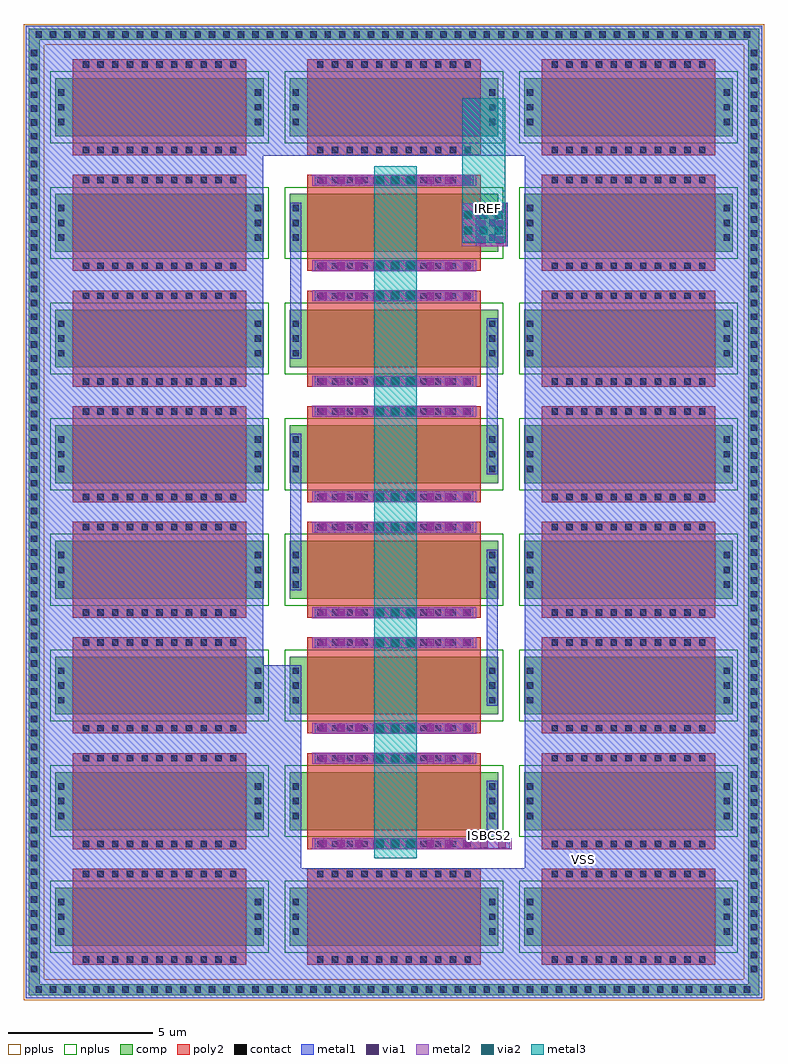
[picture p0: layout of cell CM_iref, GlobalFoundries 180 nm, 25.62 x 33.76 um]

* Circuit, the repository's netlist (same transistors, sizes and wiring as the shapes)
** sch_path: /home/lci-ufsc/Desktop/Bracolin/TIA_Filter/CurrentMirrors/CM_iref.sch
.subckt CM_iref ISBCS2 IREF VSS
*.PININFO ISBCS2:B IREF:B VSS:B
M6 ISBCS2 ISBCS2 VSS VSS nfet_03v3 L=6u W=2u nf=1 m=1
M5 IREF ISBCS2 net3 VSS nfet_03v3 L=6u W=2u nf=1 m=1
M1 net3 ISBCS2 net2 VSS nfet_03v3 L=6u W=2u nf=1 m=1
M2 net2 ISBCS2 net1 VSS nfet_03v3 L=6u W=2u nf=1 m=1
M3 net1 ISBCS2 net4 VSS nfet_03v3 L=6u W=2u nf=1 m=1
M4 net4 ISBCS2 VSS VSS nfet_03v3 L=6u W=2u nf=1 m=1
M7[1] VSS VSS VSS VSS nfet_03v3 L=6u W=2u nf=1 m=1
M7[2] VSS VSS VSS VSS nfet_03v3 L=6u W=2u nf=1 m=1
M7[3] VSS VSS VSS VSS nfet_03v3 L=6u W=2u nf=1 m=1
M7[4] VSS VSS VSS VSS nfet_03v3 L=6u W=2u nf=1 m=1
M7[5] VSS VSS VSS VSS nfet_03v3 L=6u W=2u nf=1 m=1
M7[6] VSS VSS VSS VSS nfet_03v3 L=6u W=2u nf=1 m=1
M7[7] VSS VSS VSS VSS nfet_03v3 L=6u W=2u nf=1 m=1
M7[8] VSS VSS VSS VSS nfet_03v3 L=6u W=2u nf=1 m=1
M7[9] VSS VSS VSS VSS nfet_03v3 L=6u W=2u nf=1 m=1
M7[10] VSS VSS VSS VSS nfet_03v3 L=6u W=2u nf=1 m=1
M7[11] VSS VSS VSS VSS nfet_03v3 L=6u W=2u nf=1 m=1
M7[12] VSS VSS VSS VSS nfet_03v3 L=6u W=2u nf=1 m=1
M7[13] VSS VSS VSS VSS nfet_03v3 L=6u W=2u nf=1 m=1
M7[14] VSS VSS VSS VSS nfet_03v3 L=6u W=2u nf=1 m=1
M7[15] VSS VSS VSS VSS nfet_03v3 L=6u W=2u nf=1 m=1
M7[16] VSS VSS VSS VSS nfet_03v3 L=6u W=2u nf=1 m=1
M7[17] VSS VSS VSS VSS nfet_03v3 L=6u W=2u nf=1 m=1
M7[18] VSS VSS VSS VSS nfet_03v3 L=6u W=2u nf=1 m=1
.ends
.end

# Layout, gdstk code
import gdstk
lib = gdstk.Library(unit=1e-6, precision=1e-09)
def R(c, l, rs):  # rectangles x0, y0, x1, y1
    for r in rs: c.add(gdstk.rectangle(r[:2], r[2:], *l))
def A(c, l, x, y, w, h, nx, ny, dx, dy):  # array of equal rectangles
    R(c, l, [(x+i*dx, y+j*dy, x+i*dx+w, y+j*dy+h) for i in range(nx) for j in range(ny)])
comp = (22, 0)
poly2 = (30, 0)
pplus = (31, 0)
nplus = (32, 0)
contact = (33, 0)
metal1 = (34, 0)
via1 = (35, 0)
metal2 = (36, 0)
via2 = (38, 0)
metal3 = (42, 0)

nfet = lib.new_cell('nfet')
R(nfet, comp, [(-0.42,0,0,2), (0,0,6.38,2), (6.38,0,6.8,2)])
R(nfet, poly2, [(0.19,-0.66,6.19,-0.3), (0.19,-0.3,6.19,2.3), (0.19,2.3,6.19,2.66)])
R(nfet, nplus, [(-0.59,-0.24,6.97,2.24)])
A(nfet, contact, 0.53, -0.59, 0.22, 0.22, 11, 2, 0.51, 2.96)
A(nfet, contact, -0.32, 0.38, 0.22, 0.22, 1, 3, 0, 0.51)
A(nfet, contact, 6.48, 0.38, 0.22, 0.22, 1, 3, 0, 0.51)
R(nfet, metal1, [(0.45,-0.67,5.93,-0.29), (-0.4,0.3,-0.02,1.7), (6.4,0.3,6.78,1.7), (0.45,2.29,5.93,2.67)])

cm_iref = lib.new_cell('CM_iref')
R(cm_iref, comp, [(-10.14,-5.845,-9.76,27.395), (-10.015,-5.845,14.995,-5.465), (14.76,-5.845,15.14,27.405), (-10.14,27.195,15.14,27.575)])
R(cm_iref, pplus, [(-10.31,-6.015,-9.59,27.715), (-10.31,-6.015,15.31,-5.295), (14.59,-6.015,15.31,27.69), (-10.31,27.025,15.31,27.745)])
A(cm_iref, contact, -9.9, -5.765, 0.22, 0.22, 50, 2, 0.5, 33.04)
A(cm_iref, contact, -10.06, -5.05, 0.22, 0.22, 1, 67, 0, 0.48)
A(cm_iref, contact, 14.84, -5.05, 0.22, 0.22, 1, 67, 0, 0.48)
R(cm_iref, contact, [(-10.06,-5.05,-9.84,-4.83), (14.84,-5.05,15.06,-4.83)])
R(cm_iref, metal1, [(-10.235,-5.955,-2.02,27.68), (-2.935,-5.955,15.245,-1.465), (7.02,-5.955,15.235,27.68), (-2.4,-2.475,-0.71,5.565), (-0.24,-0.79,1.525,-0.435), (1.615,-0.79,3.38,-0.435), (3.475,-0.79,6.51,-0.435), (5.71,-0.59,6.09,0.495), (-0.24,2.165,1.525,2.52), (1.615,2.165,3.38,2.52), (3.475,2.165,5.24,2.52), (-0.24,3.21,1.525,3.565), (1.615,3.21,3.38,3.565), (3.475,3.21,5.24,3.565), (5.71,5.31,6.09,8.895), (-0.24,6.165,1.525,6.52), (1.615,6.165,3.38,6.52), (1.615,6.165,3.38,6.52), (3.475,6.165,5.24,6.52), (-0.24,7.205,1.525,7.56), (1.615,7.205,3.38,7.56), (1.615,7.205,3.38,7.56), (3.475,7.205,5.24,7.56), (-1.09,9.13,-0.71,12.715), (-0.24,10.16,1.525,10.515), (1.615,10.16,3.38,10.515), (1.615,10.16,3.38,10.515), (3.475,10.16,5.24,10.515), (-0.24,11.205,1.525,11.56), (1.615,11.205,3.38,11.56), (1.615,11.205,3.38,11.56), (3.475,11.205,5.24,11.56), (5.71,13.21,6.09,16.795), (-0.24,14.16,1.525,14.515), (1.615,14.16,3.38,14.515), (1.615,14.16,3.38,14.515), (3.475,14.16,5.24,14.515), (-0.24,15.205,1.525,15.56), (1.615,15.205,3.38,15.56), (3.475,15.205,5.24,15.56), (-1.09,17.03,-0.71,20.615), (-0.24,18.16,1.525,18.515), (1.615,18.16,3.38,18.515), (3.475,18.16,5.24,18.515), (-0.24,19.2,1.525,19.555), (1.615,19.2,3.38,19.555), (3.475,19.2,5.24,19.555), (5.325,20.055,6.44,21.565), (-0.24,22.155,1.525,22.51), (1.615,22.155,3.38,22.51), (3.475,22.155,5.24,22.51), (-2.935,23.195,15.245,27.685)])
A(cm_iref, via1, 5.41, 20.125, 0.26, 0.26, 1, 3, 0, 0.55)
A(cm_iref, via1, 6.03, 20.125, 0.26, 0.26, 1, 3, 0, 0.55)
R(cm_iref, via1, [(-0.085,-0.74,0.175,-0.48), (-0.085,-0.74,0.175,-0.48), (-0.085,-0.74,0.175,-0.48), (-0.085,-0.74,0.175,-0.48), (-0.085,-0.74,0.175,-0.48), (-0.085,-0.74,0.175,-0.48), (-0.085,-0.74,0.175,-0.48), (-0.085,-0.74,0.175,-0.48), (0.535,-0.74,0.795,-0.48), (0.535,-0.74,0.795,-0.48), (0.535,-0.74,0.795,-0.48), (0.535,-0.74,0.795,-0.48), (0.535,-0.74,0.795,-0.48), (0.535,-0.74,0.795,-0.48), (0.535,-0.74,0.795,-0.48), (0.535,-0.74,0.795,-0.48), (1.155,-0.74,1.415,-0.48), (1.155,-0.74,1.415,-0.48), (1.155,-0.74,1.415,-0.48), (1.155,-0.74,1.415,-0.48), (1.155,-0.74,1.415,-0.48), (1.155,-0.74,1.415,-0.48), (1.155,-0.74,1.415,-0.48), (1.155,-0.74,1.415,-0.48), (1.77,-0.74,2.03,-0.48), (1.77,-0.74,2.03,-0.48), (1.77,-0.74,2.03,-0.48), (1.77,-0.74,2.03,-0.48), (1.77,-0.74,2.03,-0.48), (1.77,-0.74,2.03,-0.48), (1.77,-0.74,2.03,-0.48), (1.77,-0.74,2.03,-0.48), (2.39,-0.74,2.65,-0.48), (2.39,-0.74,2.65,-0.48), (2.39,-0.74,2.65,-0.48), (2.39,-0.74,2.65,-0.48), (2.39,-0.74,2.65,-0.48), (2.39,-0.74,2.65,-0.48), (2.39,-0.74,2.65,-0.48), (2.39,-0.74,2.65,-0.48), (3.01,-0.74,3.27,-0.48), (3.01,-0.74,3.27,-0.48), (3.01,-0.74,3.27,-0.48), (3.01,-0.74,3.27,-0.48), (3.01,-0.74,3.27,-0.48), (3.01,-0.74,3.27,-0.48), (3.01,-0.74,3.27,-0.48), (3.01,-0.74,3.27,-0.48), (3.63,-0.74,3.89,-0.48), (3.63,-0.74,3.89,-0.48), (3.63,-0.74,3.89,-0.48), (3.63,-0.74,3.89,-0.48), (3.63,-0.74,3.89,-0.48), (3.63,-0.74,3.89,-0.48), (3.63,-0.74,3.89,-0.48), (3.63,-0.74,3.89,-0.48), (4.25,-0.74,4.51,-0.48), (4.25,-0.74,4.51,-0.48), (4.25,-0.74,4.51,-0.48), (4.25,-0.74,4.51,-0.48), (4.25,-0.74,4.51,-0.48), (4.25,-0.74,4.51,-0.48), (4.25,-0.74,4.51,-0.48), (4.25,-0.74,4.51,-0.48), (4.87,-0.74,5.13,-0.48), (4.87,-0.74,5.13,-0.48), (4.87,-0.74,5.13,-0.48), (4.87,-0.74,5.13,-0.48), (4.87,-0.74,5.13,-0.48), (4.87,-0.74,5.13,-0.48), (4.87,-0.74,5.13,-0.48), (4.87,-0.74,5.13,-0.48), (4.87,-0.74,5.13,-0.48), (4.87,-0.74,5.13,-0.48), (4.87,-0.74,5.13,-0.48), (4.87,-0.74,5.13,-0.48), (4.87,-0.74,5.13,-0.48), (4.87,-0.74,5.13,-0.48), (4.87,-0.74,5.13,-0.48), (5.49,-0.74,5.75,-0.48), (5.49,-0.74,5.75,-0.48), (5.49,-0.74,5.75,-0.48), (5.49,-0.74,5.75,-0.48), (5.49,-0.74,5.75,-0.48), (5.49,-0.74,5.75,-0.48), (5.49,-0.74,5.75,-0.48), (5.49,-0.74,5.75,-0.48), (5.49,-0.74,5.75,-0.48), (5.49,-0.74,5.75,-0.48), (5.49,-0.74,5.75,-0.48), (5.49,-0.74,5.75,-0.48), (5.49,-0.74,5.75,-0.48), (5.49,-0.74,5.75,-0.48), (5.49,-0.74,5.75,-0.48), (5.49,-0.74,5.75,-0.48), (5.49,-0.74,5.75,-0.48), (5.49,-0.74,5.75,-0.48), (5.49,-0.74,5.75,-0.48), (5.49,-0.74,5.75,-0.48), (5.49,-0.74,5.75,-0.48), (5.49,-0.74,5.75,-0.48), (6.11,-0.74,6.37,-0.48), (6.11,-0.74,6.37,-0.48), (6.11,-0.74,6.37,-0.48), (6.11,-0.74,6.37,-0.48), (6.11,-0.74,6.37,-0.48), (6.11,-0.74,6.37,-0.48), (6.11,-0.74,6.37,-0.48), (6.11,-0.74,6.37,-0.48), (-0.085,2.215,0.175,2.475), (-0.085,2.215,0.175,2.475), (-0.085,2.215,0.175,2.475), (-0.085,2.215,0.175,2.475), (-0.085,2.215,0.175,2.475), (-0.085,2.215,0.175,2.475), (-0.085,2.215,0.175,2.475), (-0.085,2.215,0.175,2.475), (0.535,2.215,0.795,2.475), (0.535,2.215,0.795,2.475), (0.535,2.215,0.795,2.475), (0.535,2.215,0.795,2.475), (0.535,2.215,0.795,2.475), (0.535,2.215,0.795,2.475), (0.535,2.215,0.795,2.475), (0.535,2.215,0.795,2.475), (1.155,2.215,1.415,2.475), (1.155,2.215,1.415,2.475), (1.155,2.215,1.415,2.475), (1.155,2.215,1.415,2.475), (1.155,2.215,1.415,2.475), (1.155,2.215,1.415,2.475), (1.155,2.215,1.415,2.475), (1.155,2.215,1.415,2.475), (1.77,2.215,2.03,2.475), (1.77,2.215,2.03,2.475), (1.77,2.215,2.03,2.475), (1.77,2.215,2.03,2.475), (1.77,2.215,2.03,2.475), (1.77,2.215,2.03,2.475), (1.77,2.215,2.03,2.475), (1.77,2.215,2.03,2.475), (2.39,2.215,2.65,2.475), (2.39,2.215,2.65,2.475), (2.39,2.215,2.65,2.475), (2.39,2.215,2.65,2.475), (2.39,2.215,2.65,2.475), (2.39,2.215,2.65,2.475), (2.39,2.215,2.65,2.475), (2.39,2.215,2.65,2.475), (3.01,2.215,3.27,2.475), (3.01,2.215,3.27,2.475), (3.01,2.215,3.27,2.475), (3.01,2.215,3.27,2.475), (3.01,2.215,3.27,2.475), (3.01,2.215,3.27,2.475), (3.01,2.215,3.27,2.475), (3.01,2.215,3.27,2.475), (3.63,2.215,3.89,2.475), (3.63,2.215,3.89,2.475), (3.63,2.215,3.89,2.475), (3.63,2.215,3.89,2.475), (3.63,2.215,3.89,2.475), (3.63,2.215,3.89,2.475), (3.63,2.215,3.89,2.475), (3.63,2.215,3.89,2.475), (4.25,2.215,4.51,2.475), (4.25,2.215,4.51,2.475), (4.25,2.215,4.51,2.475), (4.25,2.215,4.51,2.475), (4.25,2.215,4.51,2.475), (4.25,2.215,4.51,2.475), (4.25,2.215,4.51,2.475), (4.25,2.215,4.51,2.475), (4.87,2.215,5.13,2.475), (4.87,2.215,5.13,2.475), (4.87,2.215,5.13,2.475), (4.87,2.215,5.13,2.475), (4.87,2.215,5.13,2.475), (4.87,2.215,5.13,2.475), (4.87,2.215,5.13,2.475), (4.87,2.215,5.13,2.475), (-0.085,3.26,0.175,3.52), (-0.085,3.26,0.175,3.52), (-0.085,3.26,0.175,3.52), (-0.085,3.26,0.175,3.52), (-0.085,3.26,0.175,3.52), (-0.085,3.26,0.175,3.52), (-0.085,3.26,0.175,3.52), (-0.085,3.26,0.175,3.52), (0.535,3.26,0.795,3.52), (0.535,3.26,0.795,3.52), (0.535,3.26,0.795,3.52), (0.535,3.26,0.795,3.52), (0.535,3.26,0.795,3.52), (0.535,3.26,0.795,3.52), (0.535,3.26,0.795,3.52), (0.535,3.26,0.795,3.52), (1.155,3.26,1.415,3.52), (1.155,3.26,1.415,3.52), (1.155,3.26,1.415,3.52), (1.155,3.26,1.415,3.52), (1.155,3.26,1.415,3.52), (1.155,3.26,1.415,3.52), (1.155,3.26,1.415,3.52), (1.155,3.26,1.415,3.52), (1.77,3.26,2.03,3.52), (1.77,3.26,2.03,3.52), (1.77,3.26,2.03,3.52), (1.77,3.26,2.03,3.52), (1.77,3.26,2.03,3.52), (1.77,3.26,2.03,3.52), (1.77,3.26,2.03,3.52), (1.77,3.26,2.03,3.52), (2.39,3.26,2.65,3.52), (2.39,3.26,2.65,3.52), (2.39,3.26,2.65,3.52), (2.39,3.26,2.65,3.52), (2.39,3.26,2.65,3.52), (2.39,3.26,2.65,3.52), (2.39,3.26,2.65,3.52), (2.39,3.26,2.65,3.52), (3.01,3.26,3.27,3.52), (3.01,3.26,3.27,3.52), (3.01,3.26,3.27,3.52), (3.01,3.26,3.27,3.52), (3.01,3.26,3.27,3.52), (3.01,3.26,3.27,3.52), (3.01,3.26,3.27,3.52), (3.01,3.26,3.27,3.52), (3.63,3.26,3.89,3.52), (3.63,3.26,3.89,3.52), (3.63,3.26,3.89,3.52), (3.63,3.26,3.89,3.52), (3.63,3.26,3.89,3.52), (3.63,3.26,3.89,3.52), (3.63,3.26,3.89,3.52), (3.63,3.26,3.89,3.52), (4.25,3.26,4.51,3.52), (4.25,3.26,4.51,3.52), (4.25,3.26,4.51,3.52), (4.25,3.26,4.51,3.52), (4.25,3.26,4.51,3.52), (4.25,3.26,4.51,3.52), (4.25,3.26,4.51,3.52), (4.25,3.26,4.51,3.52), (4.87,3.26,5.13,3.52), (4.87,3.26,5.13,3.52), (4.87,3.26,5.13,3.52), (4.87,3.26,5.13,3.52), (4.87,3.26,5.13,3.52), (4.87,3.26,5.13,3.52), (4.87,3.26,5.13,3.52), (4.87,3.26,5.13,3.52), (-0.085,6.215,0.175,6.475), (-0.085,6.215,0.175,6.475), (-0.085,6.215,0.175,6.475), (-0.085,6.215,0.175,6.475), (-0.085,6.215,0.175,6.475), (-0.085,6.215,0.175,6.475), (-0.085,6.215,0.175,6.475), (-0.085,6.215,0.175,6.475), (0.535,6.215,0.795,6.475), (0.535,6.215,0.795,6.475), (0.535,6.215,0.795,6.475), (0.535,6.215,0.795,6.475), (0.535,6.215,0.795,6.475), (0.535,6.215,0.795,6.475), (0.535,6.215,0.795,6.475), (0.535,6.215,0.795,6.475), (1.155,6.215,1.415,6.475), (1.155,6.215,1.415,6.475), (1.155,6.215,1.415,6.475), (1.155,6.215,1.415,6.475), (1.155,6.215,1.415,6.475), (1.155,6.215,1.415,6.475), (1.155,6.215,1.415,6.475), (1.155,6.215,1.415,6.475), (1.77,6.215,2.03,6.475), (1.77,6.215,2.03,6.475), (1.77,6.215,2.03,6.475), (1.77,6.215,2.03,6.475), (1.77,6.215,2.03,6.475), (1.77,6.215,2.03,6.475), (1.77,6.215,2.03,6.475), (1.77,6.215,2.03,6.475), (2.39,6.215,2.65,6.475), (2.39,6.215,2.65,6.475), (2.39,6.215,2.65,6.475), (2.39,6.215,2.65,6.475), (2.39,6.215,2.65,6.475), (2.39,6.215,2.65,6.475), (2.39,6.215,2.65,6.475), (2.39,6.215,2.65,6.475), (3.01,6.215,3.27,6.475), (3.01,6.215,3.27,6.475), (3.01,6.215,3.27,6.475), (3.01,6.215,3.27,6.475), (3.01,6.215,3.27,6.475), (3.01,6.215,3.27,6.475), (3.01,6.215,3.27,6.475), (3.01,6.215,3.27,6.475), (3.63,6.215,3.89,6.475), (3.63,6.215,3.89,6.475), (3.63,6.215,3.89,6.475), (3.63,6.215,3.89,6.475), (3.63,6.215,3.89,6.475), (3.63,6.215,3.89,6.475), (3.63,6.215,3.89,6.475), (3.63,6.215,3.89,6.475), (4.25,6.215,4.51,6.475), (4.25,6.215,4.51,6.475), (4.25,6.215,4.51,6.475), (4.25,6.215,4.51,6.475), (4.25,6.215,4.51,6.475), (4.25,6.215,4.51,6.475), (4.25,6.215,4.51,6.475), (4.25,6.215,4.51,6.475), (4.87,6.215,5.13,6.475), (4.87,6.215,5.13,6.475), (4.87,6.215,5.13,6.475), (4.87,6.215,5.13,6.475), (4.87,6.215,5.13,6.475), (4.87,6.215,5.13,6.475), (4.87,6.215,5.13,6.475), (4.87,6.215,5.13,6.475), (-0.085,7.255,0.175,7.515), (-0.085,7.255,0.175,7.515), (-0.085,7.255,0.175,7.515), (-0.085,7.255,0.175,7.515), (-0.085,7.255,0.175,7.515), (-0.085,7.255,0.175,7.515), (-0.085,7.255,0.175,7.515), (-0.085,7.255,0.175,7.515), (0.535,7.255,0.795,7.515), (0.535,7.255,0.795,7.515), (0.535,7.255,0.795,7.515), (0.535,7.255,0.795,7.515), (0.535,7.255,0.795,7.515), (0.535,7.255,0.795,7.515), (0.535,7.255,0.795,7.515), (0.535,7.255,0.795,7.515), (1.155,7.255,1.415,7.515), (1.155,7.255,1.415,7.515), (1.155,7.255,1.415,7.515), (1.155,7.255,1.415,7.515), (1.155,7.255,1.415,7.515), (1.155,7.255,1.415,7.515), (1.155,7.255,1.415,7.515), (1.155,7.255,1.415,7.515), (1.77,7.255,2.03,7.515), (1.77,7.255,2.03,7.515), (1.77,7.255,2.03,7.515), (1.77,7.255,2.03,7.515), (1.77,7.255,2.03,7.515), (1.77,7.255,2.03,7.515), (1.77,7.255,2.03,7.515), (1.77,7.255,2.03,7.515), (2.39,7.255,2.65,7.515), (2.39,7.255,2.65,7.515), (2.39,7.255,2.65,7.515), (2.39,7.255,2.65,7.515), (2.39,7.255,2.65,7.515), (2.39,7.255,2.65,7.515), (2.39,7.255,2.65,7.515), (2.39,7.255,2.65,7.515), (3.01,7.255,3.27,7.515), (3.01,7.255,3.27,7.515), (3.01,7.255,3.27,7.515), (3.01,7.255,3.27,7.515), (3.01,7.255,3.27,7.515), (3.01,7.255,3.27,7.515), (3.01,7.255,3.27,7.515), (3.01,7.255,3.27,7.515), (3.63,7.255,3.89,7.515), (3.63,7.255,3.89,7.515), (3.63,7.255,3.89,7.515), (3.63,7.255,3.89,7.515), (3.63,7.255,3.89,7.515), (3.63,7.255,3.89,7.515), (3.63,7.255,3.89,7.515), (3.63,7.255,3.89,7.515), (4.25,7.255,4.51,7.515), (4.25,7.255,4.51,7.515), (4.25,7.255,4.51,7.515), (4.25,7.255,4.51,7.515), (4.25,7.255,4.51,7.515), (4.25,7.255,4.51,7.515), (4.25,7.255,4.51,7.515), (4.25,7.255,4.51,7.515), (4.87,7.255,5.13,7.515), (4.87,7.255,5.13,7.515), (4.87,7.255,5.13,7.515), (4.87,7.255,5.13,7.515), (4.87,7.255,5.13,7.515), (4.87,7.255,5.13,7.515), (4.87,7.255,5.13,7.515), (4.87,7.255,5.13,7.515), (-0.085,10.21,0.175,10.47), (-0.085,10.21,0.175,10.47), (-0.085,10.21,0.175,10.47), (-0.085,10.21,0.175,10.47), (-0.085,10.21,0.175,10.47), (-0.085,10.21,0.175,10.47), (-0.085,10.21,0.175,10.47), (-0.085,10.21,0.175,10.47), (0.535,10.21,0.795,10.47), (0.535,10.21,0.795,10.47), (0.535,10.21,0.795,10.47), (0.535,10.21,0.795,10.47), (0.535,10.21,0.795,10.47), (0.535,10.21,0.795,10.47), (0.535,10.21,0.795,10.47), (0.535,10.21,0.795,10.47), (1.155,10.21,1.415,10.47), (1.155,10.21,1.415,10.47), (1.155,10.21,1.415,10.47), (1.155,10.21,1.415,10.47), (1.155,10.21,1.415,10.47), (1.155,10.21,1.415,10.47), (1.155,10.21,1.415,10.47), (1.155,10.21,1.415,10.47), (1.77,10.21,2.03,10.47), (1.77,10.21,2.03,10.47), (1.77,10.21,2.03,10.47), (1.77,10.21,2.03,10.47), (1.77,10.21,2.03,10.47), (1.77,10.21,2.03,10.47), (1.77,10.21,2.03,10.47), (1.77,10.21,2.03,10.47), (2.39,10.21,2.65,10.47), (2.39,10.21,2.65,10.47), (2.39,10.21,2.65,10.47), (2.39,10.21,2.65,10.47), (2.39,10.21,2.65,10.47), (2.39,10.21,2.65,10.47), (2.39,10.21,2.65,10.47), (2.39,10.21,2.65,10.47), (3.01,10.21,3.27,10.47), (3.01,10.21,3.27,10.47), (3.01,10.21,3.27,10.47), (3.01,10.21,3.27,10.47), (3.01,10.21,3.27,10.47), (3.01,10.21,3.27,10.47), (3.01,10.21,3.27,10.47), (3.01,10.21,3.27,10.47), (3.63,10.21,3.89,10.47), (3.63,10.21,3.89,10.47), (3.63,10.21,3.89,10.47), (3.63,10.21,3.89,10.47), (3.63,10.21,3.89,10.47), (3.63,10.21,3.89,10.47), (3.63,10.21,3.89,10.47), (3.63,10.21,3.89,10.47), (4.25,10.21,4.51,10.47), (4.25,10.21,4.51,10.47), (4.25,10.21,4.51,10.47), (4.25,10.21,4.51,10.47), (4.25,10.21,4.51,10.47), (4.25,10.21,4.51,10.47), (4.25,10.21,4.51,10.47), (4.25,10.21,4.51,10.47), (4.87,10.21,5.13,10.47), (4.87,10.21,5.13,10.47), (4.87,10.21,5.13,10.47), (4.87,10.21,5.13,10.47), (4.87,10.21,5.13,10.47), (4.87,10.21,5.13,10.47), (4.87,10.21,5.13,10.47), (4.87,10.21,5.13,10.47), (-0.085,11.255,0.175,11.515), (-0.085,11.255,0.175,11.515), (-0.085,11.255,0.175,11.515), (-0.085,11.255,0.175,11.515), (-0.085,11.255,0.175,11.515), (-0.085,11.255,0.175,11.515), (-0.085,11.255,0.175,11.515), (-0.085,11.255,0.175,11.515), (0.535,11.255,0.795,11.515), (0.535,11.255,0.795,11.515), (0.535,11.255,0.795,11.515), (0.535,11.255,0.795,11.515), (0.535,11.255,0.795,11.515), (0.535,11.255,0.795,11.515), (0.535,11.255,0.795,11.515), (0.535,11.255,0.795,11.515), (1.155,11.255,1.415,11.515), (1.155,11.255,1.415,11.515), (1.155,11.255,1.415,11.515), (1.155,11.255,1.415,11.515), (1.155,11.255,1.415,11.515), (1.155,11.255,1.415,11.515), (1.155,11.255,1.415,11.515), (1.155,11.255,1.415,11.515), (1.77,11.255,2.03,11.515), (1.77,11.255,2.03,11.515), (1.77,11.255,2.03,11.515), (1.77,11.255,2.03,11.515), (1.77,11.255,2.03,11.515), (1.77,11.255,2.03,11.515), (1.77,11.255,2.03,11.515), (1.77,11.255,2.03,11.515), (2.39,11.255,2.65,11.515), (2.39,11.255,2.65,11.515), (2.39,11.255,2.65,11.515), (2.39,11.255,2.65,11.515), (2.39,11.255,2.65,11.515), (2.39,11.255,2.65,11.515), (2.39,11.255,2.65,11.515), (2.39,11.255,2.65,11.515), (3.01,11.255,3.27,11.515), (3.01,11.255,3.27,11.515), (3.01,11.255,3.27,11.515), (3.01,11.255,3.27,11.515), (3.01,11.255,3.27,11.515), (3.01,11.255,3.27,11.515), (3.01,11.255,3.27,11.515), (3.01,11.255,3.27,11.515), (3.63,11.255,3.89,11.515), (3.63,11.255,3.89,11.515), (3.63,11.255,3.89,11.515), (3.63,11.255,3.89,11.515), (3.63,11.255,3.89,11.515), (3.63,11.255,3.89,11.515), (3.63,11.255,3.89,11.515), (3.63,11.255,3.89,11.515), (4.25,11.255,4.51,11.515), (4.25,11.255,4.51,11.515), (4.25,11.255,4.51,11.515), (4.25,11.255,4.51,11.515), (4.25,11.255,4.51,11.515), (4.25,11.255,4.51,11.515), (4.25,11.255,4.51,11.515), (4.25,11.255,4.51,11.515), (4.87,11.255,5.13,11.515), (4.87,11.255,5.13,11.515), (4.87,11.255,5.13,11.515), (4.87,11.255,5.13,11.515), (4.87,11.255,5.13,11.515), (4.87,11.255,5.13,11.515), (4.87,11.255,5.13,11.515), (4.87,11.255,5.13,11.515), (-0.085,14.21,0.175,14.47), (-0.085,14.21,0.175,14.47), (-0.085,14.21,0.175,14.47), (-0.085,14.21,0.175,14.47), (-0.085,14.21,0.175,14.47), (-0.085,14.21,0.175,14.47), (-0.085,14.21,0.175,14.47), (-0.085,14.21,0.175,14.47), (0.535,14.21,0.795,14.47), (0.535,14.21,0.795,14.47), (0.535,14.21,0.795,14.47), (0.535,14.21,0.795,14.47), (0.535,14.21,0.795,14.47), (0.535,14.21,0.795,14.47), (0.535,14.21,0.795,14.47), (0.535,14.21,0.795,14.47), (1.155,14.21,1.415,14.47), (1.155,14.21,1.415,14.47), (1.155,14.21,1.415,14.47), (1.155,14.21,1.415,14.47), (1.155,14.21,1.415,14.47), (1.155,14.21,1.415,14.47), (1.155,14.21,1.415,14.47), (1.155,14.21,1.415,14.47), (1.77,14.21,2.03,14.47), (1.77,14.21,2.03,14.47), (1.77,14.21,2.03,14.47), (1.77,14.21,2.03,14.47), (1.77,14.21,2.03,14.47), (1.77,14.21,2.03,14.47), (1.77,14.21,2.03,14.47), (1.77,14.21,2.03,14.47), (2.39,14.21,2.65,14.47), (2.39,14.21,2.65,14.47), (2.39,14.21,2.65,14.47), (2.39,14.21,2.65,14.47), (2.39,14.21,2.65,14.47), (2.39,14.21,2.65,14.47), (2.39,14.21,2.65,14.47), (2.39,14.21,2.65,14.47), (3.01,14.21,3.27,14.47), (3.01,14.21,3.27,14.47), (3.01,14.21,3.27,14.47), (3.01,14.21,3.27,14.47), (3.01,14.21,3.27,14.47), (3.01,14.21,3.27,14.47), (3.01,14.21,3.27,14.47), (3.01,14.21,3.27,14.47), (3.63,14.21,3.89,14.47), (3.63,14.21,3.89,14.47), (3.63,14.21,3.89,14.47), (3.63,14.21,3.89,14.47), (3.63,14.21,3.89,14.47), (3.63,14.21,3.89,14.47), (3.63,14.21,3.89,14.47), (3.63,14.21,3.89,14.47), (4.25,14.21,4.51,14.47), (4.25,14.21,4.51,14.47), (4.25,14.21,4.51,14.47), (4.25,14.21,4.51,14.47), (4.25,14.21,4.51,14.47), (4.25,14.21,4.51,14.47), (4.25,14.21,4.51,14.47), (4.25,14.21,4.51,14.47), (4.87,14.21,5.13,14.47), (4.87,14.21,5.13,14.47), (4.87,14.21,5.13,14.47), (4.87,14.21,5.13,14.47), (4.87,14.21,5.13,14.47), (4.87,14.21,5.13,14.47), (4.87,14.21,5.13,14.47), (4.87,14.21,5.13,14.47), (-0.085,15.255,0.175,15.515), (-0.085,15.255,0.175,15.515), (-0.085,15.255,0.175,15.515), (-0.085,15.255,0.175,15.515), (-0.085,15.255,0.175,15.515), (-0.085,15.255,0.175,15.515), (-0.085,15.255,0.175,15.515), (-0.085,15.255,0.175,15.515), (0.535,15.255,0.795,15.515), (0.535,15.255,0.795,15.515), (0.535,15.255,0.795,15.515), (0.535,15.255,0.795,15.515), (0.535,15.255,0.795,15.515), (0.535,15.255,0.795,15.515), (0.535,15.255,0.795,15.515), (0.535,15.255,0.795,15.515), (1.155,15.255,1.415,15.515), (1.155,15.255,1.415,15.515), (1.155,15.255,1.415,15.515), (1.155,15.255,1.415,15.515), (1.155,15.255,1.415,15.515), (1.155,15.255,1.415,15.515), (1.155,15.255,1.415,15.515), (1.155,15.255,1.415,15.515), (1.77,15.255,2.03,15.515), (1.77,15.255,2.03,15.515), (1.77,15.255,2.03,15.515), (1.77,15.255,2.03,15.515), (1.77,15.255,2.03,15.515), (1.77,15.255,2.03,15.515), (1.77,15.255,2.03,15.515), (1.77,15.255,2.03,15.515), (2.39,15.255,2.65,15.515), (2.39,15.255,2.65,15.515), (2.39,15.255,2.65,15.515), (2.39,15.255,2.65,15.515), (2.39,15.255,2.65,15.515), (2.39,15.255,2.65,15.515), (2.39,15.255,2.65,15.515), (2.39,15.255,2.65,15.515), (3.01,15.255,3.27,15.515), (3.01,15.255,3.27,15.515), (3.01,15.255,3.27,15.515), (3.01,15.255,3.27,15.515), (3.01,15.255,3.27,15.515), (3.01,15.255,3.27,15.515), (3.01,15.255,3.27,15.515), (3.01,15.255,3.27,15.515), (3.63,15.255,3.89,15.515), (3.63,15.255,3.89,15.515), (3.63,15.255,3.89,15.515), (3.63,15.255,3.89,15.515), (3.63,15.255,3.89,15.515), (3.63,15.255,3.89,15.515), (3.63,15.255,3.89,15.515), (3.63,15.255,3.89,15.515), (4.25,15.255,4.51,15.515), (4.25,15.255,4.51,15.515), (4.25,15.255,4.51,15.515), (4.25,15.255,4.51,15.515), (4.25,15.255,4.51,15.515), (4.25,15.255,4.51,15.515), (4.25,15.255,4.51,15.515), (4.25,15.255,4.51,15.515), (4.87,15.255,5.13,15.515), (4.87,15.255,5.13,15.515), (4.87,15.255,5.13,15.515), (4.87,15.255,5.13,15.515), (4.87,15.255,5.13,15.515), (4.87,15.255,5.13,15.515), (4.87,15.255,5.13,15.515), (4.87,15.255,5.13,15.515), (-0.085,18.21,0.175,18.47), (-0.085,18.21,0.175,18.47), (-0.085,18.21,0.175,18.47), (-0.085,18.21,0.175,18.47), (-0.085,18.21,0.175,18.47), (-0.085,18.21,0.175,18.47), (-0.085,18.21,0.175,18.47), (-0.085,18.21,0.175,18.47), (0.535,18.21,0.795,18.47), (0.535,18.21,0.795,18.47), (0.535,18.21,0.795,18.47), (0.535,18.21,0.795,18.47), (0.535,18.21,0.795,18.47), (0.535,18.21,0.795,18.47), (0.535,18.21,0.795,18.47), (0.535,18.21,0.795,18.47), (1.155,18.21,1.415,18.47), (1.155,18.21,1.415,18.47), (1.155,18.21,1.415,18.47), (1.155,18.21,1.415,18.47), (1.155,18.21,1.415,18.47), (1.155,18.21,1.415,18.47), (1.155,18.21,1.415,18.47), (1.155,18.21,1.415,18.47), (1.77,18.21,2.03,18.47), (1.77,18.21,2.03,18.47), (1.77,18.21,2.03,18.47), (1.77,18.21,2.03,18.47), (1.77,18.21,2.03,18.47), (1.77,18.21,2.03,18.47), (1.77,18.21,2.03,18.47), (1.77,18.21,2.03,18.47), (2.39,18.21,2.65,18.47), (2.39,18.21,2.65,18.47), (2.39,18.21,2.65,18.47), (2.39,18.21,2.65,18.47), (2.39,18.21,2.65,18.47), (2.39,18.21,2.65,18.47), (2.39,18.21,2.65,18.47), (2.39,18.21,2.65,18.47), (3.01,18.21,3.27,18.47), (3.01,18.21,3.27,18.47), (3.01,18.21,3.27,18.47), (3.01,18.21,3.27,18.47), (3.01,18.21,3.27,18.47), (3.01,18.21,3.27,18.47), (3.01,18.21,3.27,18.47), (3.01,18.21,3.27,18.47), (3.63,18.21,3.89,18.47), (3.63,18.21,3.89,18.47), (3.63,18.21,3.89,18.47), (3.63,18.21,3.89,18.47), (3.63,18.21,3.89,18.47), (3.63,18.21,3.89,18.47), (3.63,18.21,3.89,18.47), (3.63,18.21,3.89,18.47), (4.25,18.21,4.51,18.47), (4.25,18.21,4.51,18.47), (4.25,18.21,4.51,18.47), (4.25,18.21,4.51,18.47), (4.25,18.21,4.51,18.47), (4.25,18.21,4.51,18.47), (4.25,18.21,4.51,18.47), (4.25,18.21,4.51,18.47), (4.87,18.21,5.13,18.47), (4.87,18.21,5.13,18.47), (4.87,18.21,5.13,18.47), (4.87,18.21,5.13,18.47), (4.87,18.21,5.13,18.47), (4.87,18.21,5.13,18.47), (4.87,18.21,5.13,18.47), (4.87,18.21,5.13,18.47), (-0.085,19.25,0.175,19.51), (-0.085,19.25,0.175,19.51), (-0.085,19.25,0.175,19.51), (-0.085,19.25,0.175,19.51), (-0.085,19.25,0.175,19.51), (-0.085,19.25,0.175,19.51), (-0.085,19.25,0.175,19.51), (-0.085,19.25,0.175,19.51), (0.535,19.25,0.795,19.51), (0.535,19.25,0.795,19.51), (0.535,19.25,0.795,19.51), (0.535,19.25,0.795,19.51), (0.535,19.25,0.795,19.51), (0.535,19.25,0.795,19.51), (0.535,19.25,0.795,19.51), (0.535,19.25,0.795,19.51), (1.155,19.25,1.415,19.51), (1.155,19.25,1.415,19.51), (1.155,19.25,1.415,19.51), (1.155,19.25,1.415,19.51), (1.155,19.25,1.415,19.51), (1.155,19.25,1.415,19.51), (1.155,19.25,1.415,19.51), (1.155,19.25,1.415,19.51), (1.77,19.25,2.03,19.51), (1.77,19.25,2.03,19.51), (1.77,19.25,2.03,19.51), (1.77,19.25,2.03,19.51), (1.77,19.25,2.03,19.51), (1.77,19.25,2.03,19.51), (1.77,19.25,2.03,19.51), (1.77,19.25,2.03,19.51), (2.39,19.25,2.65,19.51), (2.39,19.25,2.65,19.51), (2.39,19.25,2.65,19.51), (2.39,19.25,2.65,19.51), (2.39,19.25,2.65,19.51), (2.39,19.25,2.65,19.51), (2.39,19.25,2.65,19.51), (2.39,19.25,2.65,19.51), (3.01,19.25,3.27,19.51), (3.01,19.25,3.27,19.51), (3.01,19.25,3.27,19.51), (3.01,19.25,3.27,19.51), (3.01,19.25,3.27,19.51), (3.01,19.25,3.27,19.51), (3.01,19.25,3.27,19.51), (3.01,19.25,3.27,19.51), (3.63,19.25,3.89,19.51), (3.63,19.25,3.89,19.51), (3.63,19.25,3.89,19.51), (3.63,19.25,3.89,19.51), (3.63,19.25,3.89,19.51), (3.63,19.25,3.89,19.51), (3.63,19.25,3.89,19.51), (3.63,19.25,3.89,19.51), (4.25,19.25,4.51,19.51), (4.25,19.25,4.51,19.51), (4.25,19.25,4.51,19.51), (4.25,19.25,4.51,19.51), (4.25,19.25,4.51,19.51), (4.25,19.25,4.51,19.51), (4.25,19.25,4.51,19.51), (4.25,19.25,4.51,19.51), (4.87,19.25,5.13,19.51), (4.87,19.25,5.13,19.51), (4.87,19.25,5.13,19.51), (4.87,19.25,5.13,19.51), (4.87,19.25,5.13,19.51), (4.87,19.25,5.13,19.51), (4.87,19.25,5.13,19.51), (4.87,19.25,5.13,19.51), (-0.085,22.205,0.175,22.465), (-0.085,22.205,0.175,22.465), (-0.085,22.205,0.175,22.465), (-0.085,22.205,0.175,22.465), (-0.085,22.205,0.175,22.465), (-0.085,22.205,0.175,22.465), (-0.085,22.205,0.175,22.465), (-0.085,22.205,0.175,22.465), (0.535,22.205,0.795,22.465), (0.535,22.205,0.795,22.465), (0.535,22.205,0.795,22.465), (0.535,22.205,0.795,22.465), (0.535,22.205,0.795,22.465), (0.535,22.205,0.795,22.465), (0.535,22.205,0.795,22.465), (0.535,22.205,0.795,22.465), (1.155,22.205,1.415,22.465), (1.155,22.205,1.415,22.465), (1.155,22.205,1.415,22.465), (1.155,22.205,1.415,22.465), (1.155,22.205,1.415,22.465), (1.155,22.205,1.415,22.465), (1.155,22.205,1.415,22.465), (1.155,22.205,1.415,22.465), (1.77,22.205,2.03,22.465), (1.77,22.205,2.03,22.465), (1.77,22.205,2.03,22.465), (1.77,22.205,2.03,22.465), (1.77,22.205,2.03,22.465), (1.77,22.205,2.03,22.465), (1.77,22.205,2.03,22.465), (1.77,22.205,2.03,22.465), (2.39,22.205,2.65,22.465), (2.39,22.205,2.65,22.465), (2.39,22.205,2.65,22.465), (2.39,22.205,2.65,22.465), (2.39,22.205,2.65,22.465), (2.39,22.205,2.65,22.465), (2.39,22.205,2.65,22.465), (2.39,22.205,2.65,22.465), (3.01,22.205,3.27,22.465), (3.01,22.205,3.27,22.465), (3.01,22.205,3.27,22.465), (3.01,22.205,3.27,22.465), (3.01,22.205,3.27,22.465), (3.01,22.205,3.27,22.465), (3.01,22.205,3.27,22.465), (3.01,22.205,3.27,22.465), (3.63,22.205,3.89,22.465), (3.63,22.205,3.89,22.465), (3.63,22.205,3.89,22.465), (3.63,22.205,3.89,22.465), (3.63,22.205,3.89,22.465), (3.63,22.205,3.89,22.465), (3.63,22.205,3.89,22.465), (3.63,22.205,3.89,22.465), (4.25,22.205,4.51,22.465), (4.25,22.205,4.51,22.465), (4.25,22.205,4.51,22.465), (4.25,22.205,4.51,22.465), (4.25,22.205,4.51,22.465), (4.25,22.205,4.51,22.465), (4.25,22.205,4.51,22.465), (4.25,22.205,4.51,22.465), (4.87,22.205,5.13,22.465), (4.87,22.205,5.13,22.465), (4.87,22.205,5.13,22.465), (4.87,22.205,5.13,22.465), (4.87,22.205,5.13,22.465), (4.87,22.205,5.13,22.465), (4.87,22.205,5.13,22.465), (4.87,22.205,5.13,22.465)])
R(cm_iref, metal2, [(-0.33,-0.805,6.57,-0.425), (-0.33,2.155,5.34,2.535), (-0.33,3.195,5.34,3.575), (-0.33,6.155,5.34,6.535), (-0.33,7.195,5.34,7.575), (-0.33,10.155,5.34,10.535), (-0.33,11.195,5.34,11.575), (-0.33,14.155,5.34,14.535), (-0.33,15.195,5.34,15.575), (-0.33,18.155,5.34,18.535), (-0.33,19.195,5.34,19.575), (4.85,20.055,6.385,21.55), (-0.33,22.155,5.34,22.535)])
A(cm_iref, via2, 1.89, -0.74, 0.26, 0.26, 3, 2, 0.53, 2.955)
A(cm_iref, via2, 1.89, 3.25, 0.26, 0.26, 3, 1, 0.53, 0)
A(cm_iref, via2, 4.93, 20.475, 0.26, 0.26, 3, 1, 0.53, 0)
R(cm_iref, via2, [(1.89,6.205,2.15,6.465), (1.89,6.205,2.15,6.465), (2.42,6.205,2.68,6.465), (2.42,6.205,2.68,6.465), (2.95,6.205,3.21,6.465), (2.95,6.205,3.21,6.465), (1.89,7.255,2.15,7.515), (1.89,7.255,2.15,7.515), (2.42,7.255,2.68,7.515), (2.42,7.255,2.68,7.515), (2.95,7.255,3.21,7.515), (2.95,7.255,3.21,7.515), (1.89,10.21,2.15,10.47), (1.89,10.21,2.15,10.47), (2.42,10.21,2.68,10.47), (2.42,10.21,2.68,10.47), (2.95,10.21,3.21,10.47), (2.95,10.21,3.21,10.47), (1.89,11.25,2.15,11.51), (1.89,11.25,2.15,11.51), (2.42,11.25,2.68,11.51), (2.42,11.25,2.68,11.51), (2.95,11.25,3.21,11.51), (2.95,11.25,3.21,11.51), (1.89,14.205,2.15,14.465), (1.89,14.205,2.15,14.465), (2.42,14.205,2.68,14.465), (2.42,14.205,2.68,14.465), (2.95,14.205,3.21,14.465), (2.95,14.205,3.21,14.465), (1.89,15.265,2.15,15.525), (1.89,15.265,2.15,15.525), (2.42,15.265,2.68,15.525), (2.42,15.265,2.68,15.525), (2.95,15.265,3.21,15.525), (2.95,15.265,3.21,15.525), (1.89,18.22,2.15,18.48), (1.89,18.22,2.15,18.48), (2.42,18.22,2.68,18.48), (2.42,18.22,2.68,18.48), (2.95,18.22,3.21,18.48), (2.95,18.22,3.21,18.48), (1.89,19.26,2.15,19.52), (1.89,19.26,2.15,19.52), (2.42,19.26,2.68,19.52), (2.42,19.26,2.68,19.52), (2.95,19.26,3.21,19.52), (2.95,19.26,3.21,19.52), (4.93,21.005,5.19,21.265), (4.93,21.005,5.19,21.265), (5.46,21.005,5.72,21.265), (5.46,21.005,5.72,21.265), (5.99,21.005,6.25,21.265), (5.99,21.005,6.25,21.265), (1.89,22.215,2.15,22.475), (1.89,22.215,2.15,22.475), (2.42,22.215,2.68,22.475), (2.42,22.215,2.68,22.475), (2.95,22.215,3.21,22.475), (2.95,22.215,3.21,22.475)])
R(cm_iref, metal3, [(1.815,-1.11,3.295,22.825), (4.865,20.18,6.345,25.175)])
cm_iref.add(gdstk.Reference(nfet, (-0.69,-0.135)))
cm_iref.add(gdstk.Reference(nfet, (-0.69,3.865)))
cm_iref.add(gdstk.Reference(nfet, (-0.69,7.865)))
cm_iref.add(gdstk.Reference(nfet, (-0.69,11.865)))
cm_iref.add(gdstk.Reference(nfet, (-0.69,15.865)))
cm_iref.add(gdstk.Reference(nfet, (-0.69,19.865)))
cm_iref.add(gdstk.Reference(nfet, (7.42,-0.135)))
cm_iref.add(gdstk.Reference(nfet, (7.42,3.865)))
cm_iref.add(gdstk.Reference(nfet, (7.42,7.865)))
cm_iref.add(gdstk.Reference(nfet, (7.42,11.865)))
cm_iref.add(gdstk.Reference(nfet, (7.42,15.865)))
cm_iref.add(gdstk.Reference(nfet, (7.42,19.865)))
cm_iref.add(gdstk.Reference(nfet, (-8.8,-0.135)))
cm_iref.add(gdstk.Reference(nfet, (-8.8,3.865)))
cm_iref.add(gdstk.Reference(nfet, (-8.8,7.865)))
cm_iref.add(gdstk.Reference(nfet, (-8.8,11.865)))
cm_iref.add(gdstk.Reference(nfet, (-8.8,15.865)))
cm_iref.add(gdstk.Reference(nfet, (-8.8,19.865)))
cm_iref.add(gdstk.Reference(nfet, (-0.69,-4.135)))
cm_iref.add(gdstk.Reference(nfet, (7.42,-4.135)))
cm_iref.add(gdstk.Reference(nfet, (-8.8,-4.135)))
cm_iref.add(gdstk.Reference(nfet, (-0.69,23.865)))
cm_iref.add(gdstk.Reference(nfet, (7.42,23.865)))
cm_iref.add(gdstk.Reference(nfet, (-8.8,23.865)))
cm_iref.add(gdstk.Label('VSS', (9.05,-1.15), layer=34, texttype=10))
cm_iref.add(gdstk.Label('IREF', (5.765,21.36), layer=34, texttype=10))
cm_iref.add(gdstk.Label('ISBCS2', (5.795,-0.31), layer=34, texttype=10))

lib.write_gds('CM_iref.gds')
